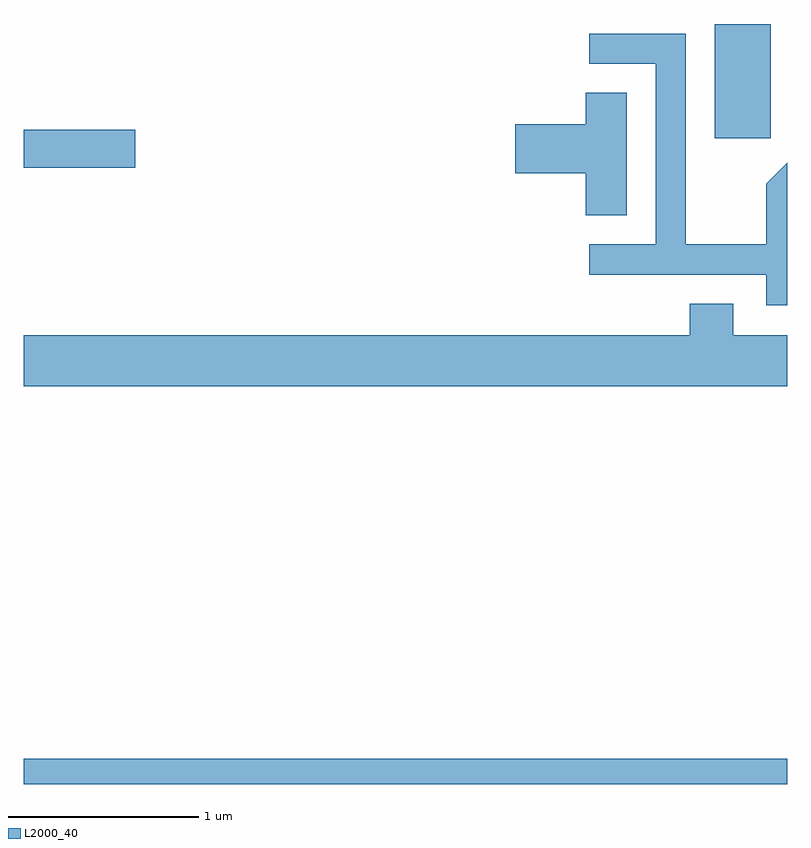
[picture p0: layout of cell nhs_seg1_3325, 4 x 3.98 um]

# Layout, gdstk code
import gdstk
lib = gdstk.Library(unit=1e-6, precision=1e-09)
def R(c, l, rs):  # rectangles x0, y0, x1, y1
    for r in rs: c.add(gdstk.rectangle(r[:2], r[2:], *l))
def P(c, l, *ps):  # polygons
    for p in ps: c.add(gdstk.Polygon(p, *l))
L2000_40 = (2000, 40)

nhs_seg1_3325 = lib.new_cell('nhs_seg1_3325')
R(nhs_seg1_3325, L2000_40, [(285.611,899.712,289.611,899.844), (285.611,902.941,286.194,903.139), (289.231,903.096,289.524,903.694)])
P(nhs_seg1_3325, L2000_40, [(289.611,902.967),(289.501,902.857),(289.501,902.539),(289.079,902.539),(289.079,903.644),(288.573,903.644),(288.573,903.486),(288.921,903.486),(288.921,902.539),(288.573,902.539),(288.573,902.381),(289.501,902.381),(289.501,902.221),(289.611,902.221)],
  [(288.769,903.334),(288.556,903.334),(288.556,903.169),(288.186,903.169),(288.186,902.911),(288.556,902.911),(288.556,902.691),(288.769,902.691)],
  [(289.611,902.064),(289.329,902.064),(289.329,902.229),(289.101,902.229),(289.101,902.064),(285.611,902.064),(285.611,901.796),(289.611,901.796)])

lib.write_gds('nhs_seg1_3325.gds')
